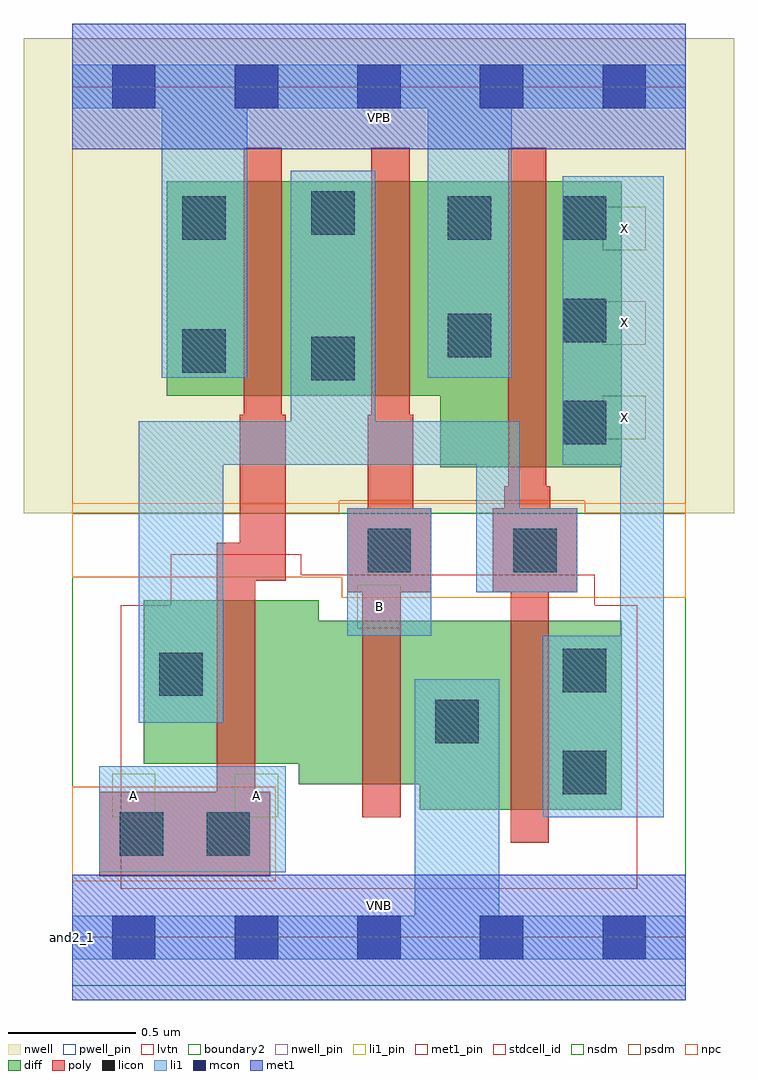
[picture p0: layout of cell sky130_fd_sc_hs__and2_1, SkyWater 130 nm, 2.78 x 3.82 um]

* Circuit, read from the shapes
.subckt sky130_fd_sc_hs__and2_1 A B VGND VNB VPB VPWR X
XM1 n1 A n2 VNB sky130_fd_pr__nfet_01v8_lvt w=0.64 l=0.15
XM2 VGND B n1 VNB sky130_fd_pr__nfet_01v8_lvt w=0.64 l=0.15
XM3 X n2 VGND VNB sky130_fd_pr__nfet_01v8_lvt w=0.74 l=0.15
XM4 n2 A VPWR VPB sky130_fd_pr__pfet_01v8 w=0.84 l=0.15
XM5 VPWR B n2 VPB sky130_fd_pr__pfet_01v8 w=0.84 l=0.15
XM6 X n2 VPWR VPB sky130_fd_pr__pfet_01v8 w=1.12 l=0.15
.ends

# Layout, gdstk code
import gdstk
lib = gdstk.Library(unit=1e-6, precision=1e-09)
def R(c, l, rs):  # rectangles x0, y0, x1, y1
    for r in rs: c.add(gdstk.rectangle(r[:2], r[2:], *l))
def A(c, l, x, y, w, h, nx, ny, dx, dy):  # array of equal rectangles
    R(c, l, [(x+i*dx, y+j*dy, x+i*dx+w, y+j*dy+h) for i in range(nx) for j in range(ny)])
def P(c, l, *ps):  # polygons
    for p in ps: c.add(gdstk.Polygon(p, *l))
nwell_pin = (64, 16)
nwell = (64, 20)
diff = (65, 20)
poly = (66, 20)
licon = (66, 44)
li1_pin = (67, 16)
li1 = (67, 20)
mcon = (67, 44)
met1_pin = (68, 16)
met1 = (68, 20)
stdcell_id = (81, 4)
nsdm = (93, 44)
psdm = (94, 20)
npc = (95, 20)
pwell_pin = (122, 16)
lvtn = (125, 44)
boundary2 = (236, 0)

sky130_fd_sc_hs__and2_1 = lib.new_cell('sky130_fd_sc_hs__and2_1')
R(sky130_fd_sc_hs__and2_1, nwell_pin, [(0,3.085,2.4,3.33)])
R(sky130_fd_sc_hs__and2_1, nwell, [(-0.19,1.66,2.59,3.52)])
P(sky130_fd_sc_hs__and2_1, diff, [(2.15,2.96),(0.37,2.96),(0.37,2.12),(1.44,2.12),(1.44,1.84),(2.15,1.84)],
  [(2.15,1.24),(0.965,1.24),(0.965,1.32),(0.28,1.32),(0.28,0.68),(0.885,0.68),(0.885,0.6),(1.36,0.6),(1.36,0.5),(2.15,0.5)])
P(sky130_fd_sc_hs__and2_1, poly, [(1.975,1.68),(1.87,1.68),(1.87,1.765),(1.855,1.765),(1.855,3.09),(1.705,3.09),(1.705,1.765),(1.69,1.765),(1.69,1.68),(1.645,1.68),(1.645,1.35),(1.715,1.35),(1.715,0.37),(1.865,0.37),(1.865,1.35),(1.975,1.35)],
  [(1.405,1.68),(1.335,1.68),(1.335,2.045),(1.32,2.045),(1.32,3.09),(1.17,3.09),(1.17,2.045),(1.155,2.045),(1.155,1.68),(1.075,1.68),(1.075,1.35),(1.135,1.35),(1.135,0.47),(1.285,0.47),(1.285,1.35),(1.405,1.35)],
  [(0.835,2.045),(0.82,2.045),(0.82,3.09),(0.67,3.09),(0.67,2.045),(0.655,2.045),(0.655,1.545),(0.565,1.545),(0.565,0.57),(0.105,0.57),(0.105,0.24),(0.775,0.24),(0.775,0.57),(0.715,0.57),(0.715,1.395),(0.835,1.395)])
A(sky130_fd_sc_hs__and2_1, licon, 1.92, 1.93, 0.17, 0.17, 1, 3, 0, 0.4)
R(sky130_fd_sc_hs__and2_1, licon, [(0.185,0.32,0.355,0.49), (0.525,0.32,0.695,0.49), (1.92,0.56,2.09,0.73), (1.42,0.76,1.59,0.93), (0.34,0.945,0.51,1.115), (1.92,0.96,2.09,1.13), (1.155,1.43,1.325,1.6), (1.725,1.43,1.895,1.6), (0.935,2.18,1.105,2.35), (0.43,2.21,0.6,2.38), (1.47,2.27,1.64,2.44), (0.43,2.73,0.6,2.9), (1.47,2.73,1.64,2.9), (0.935,2.75,1.105,2.92)])
A(sky130_fd_sc_hs__and2_1, li1_pin, 2.075, 1.95, 0.17, 0.17, 1, 3, 0, 0.37)
R(sky130_fd_sc_hs__and2_1, li1_pin, [(0.155,0.47,0.325,0.64), (0.635,0.47,0.805,0.64), (1.115,1.21,1.285,1.38)])
R(sky130_fd_sc_hs__and2_1, li1, [(0.105,0.255,0.835,0.67), (1.075,1.18,1.405,1.68)])
P(sky130_fd_sc_hs__and2_1, li1, [(0,-0.085),(0,0.085),(1.34,0.085),(1.34,1.01),(1.67,1.01),(1.67,0.085),(2.4,0.085),(2.4,-0.085)],
  [(0,3.245),(0,3.415),(2.4,3.415),(2.4,3.245),(1.72,3.245),(1.72,2.19),(1.39,2.19),(1.39,3.245),(0.685,3.245),(0.685,2.19),(0.35,2.19),(0.35,3.245)],
  [(1.92,1.85),(1.92,2.98),(2.315,2.98),(2.315,0.47),(1.84,0.47),(1.84,1.18),(2.145,1.18),(2.145,1.85)],
  [(0.26,0.84),(0.26,2.02),(0.855,2.02),(0.855,3),(1.185,3),(1.185,2.02),(1.75,2.02),(1.75,1.68),(1.975,1.68),(1.975,1.35),(1.58,1.35),(1.58,1.85),(0.59,1.85),(0.59,0.84)])
A(sky130_fd_sc_hs__and2_1, mcon, 0.155, -0.085, 0.17, 0.17, 5, 2, 0.48, 3.33)
R(sky130_fd_sc_hs__and2_1, met1_pin, [(0,0,2.4,0.245), (0,3.085,2.4,3.33)])
R(sky130_fd_sc_hs__and2_1, met1, [(0,-0.245,2.4,0.245), (0,3.085,2.4,3.575)])
R(sky130_fd_sc_hs__and2_1, stdcell_id, [(0,0,2.4,3.33)])
R(sky130_fd_sc_hs__and2_1, nsdm, [(0,-0.19,2.4,1.66)])
P(sky130_fd_sc_hs__and2_1, psdm, [(2.4,3.52),(0,3.52),(0,1.66),(1.045,1.66),(1.045,1.71),(2.005,1.71),(2.005,1.66),(2.4,1.66)])
R(sky130_fd_sc_hs__and2_1, npc, [(0,0.22,0.795,0.59)])
P(sky130_fd_sc_hs__and2_1, npc, [(2.4,1.7),(0,1.7),(0,1.41),(1.055,1.41),(1.055,1.33),(2.4,1.33)])
R(sky130_fd_sc_hs__and2_1, pwell_pin, [(0,0,2.4,0.245)])
P(sky130_fd_sc_hs__and2_1, lvtn, [(2.21,1.3),(2.045,1.3),(2.045,1.42),(0.895,1.42),(0.895,1.5),(0.385,1.5),(0.385,1.3),(0.19,1.3),(0.19,0.19),(2.21,0.19)])
R(sky130_fd_sc_hs__and2_1, boundary2, [(0,0,2.4,3.33)])
sky130_fd_sc_hs__and2_1.add(gdstk.Label('and2_1', (0,0), layer=83, texttype=44))
sky130_fd_sc_hs__and2_1.add(gdstk.Label('VNB', (1.2,0.123), layer=64, texttype=59))
sky130_fd_sc_hs__and2_1.add(gdstk.Label('VPB', (1.2,3.208), layer=64, texttype=5))
sky130_fd_sc_hs__and2_1.add(gdstk.Label('VPWR', (1.2,3.208), layer=68, texttype=5))
sky130_fd_sc_hs__and2_1.add(gdstk.Label('VGND', (1.2,0.123), layer=68, texttype=5))
sky130_fd_sc_hs__and2_1.add(gdstk.Label('A', (0.24,0.555), layer=67, texttype=5))
sky130_fd_sc_hs__and2_1.add(gdstk.Label('A', (0.72,0.555), layer=67, texttype=5))
sky130_fd_sc_hs__and2_1.add(gdstk.Label('B', (1.2,1.295), layer=67, texttype=5))
sky130_fd_sc_hs__and2_1.add(gdstk.Label('X', (2.16,2.035), layer=67, texttype=5))
sky130_fd_sc_hs__and2_1.add(gdstk.Label('X', (2.16,2.405), layer=67, texttype=5))
sky130_fd_sc_hs__and2_1.add(gdstk.Label('X', (2.16,2.775), layer=67, texttype=5))

lib.write_gds('sky130_fd_sc_hs__and2_1.gds')
